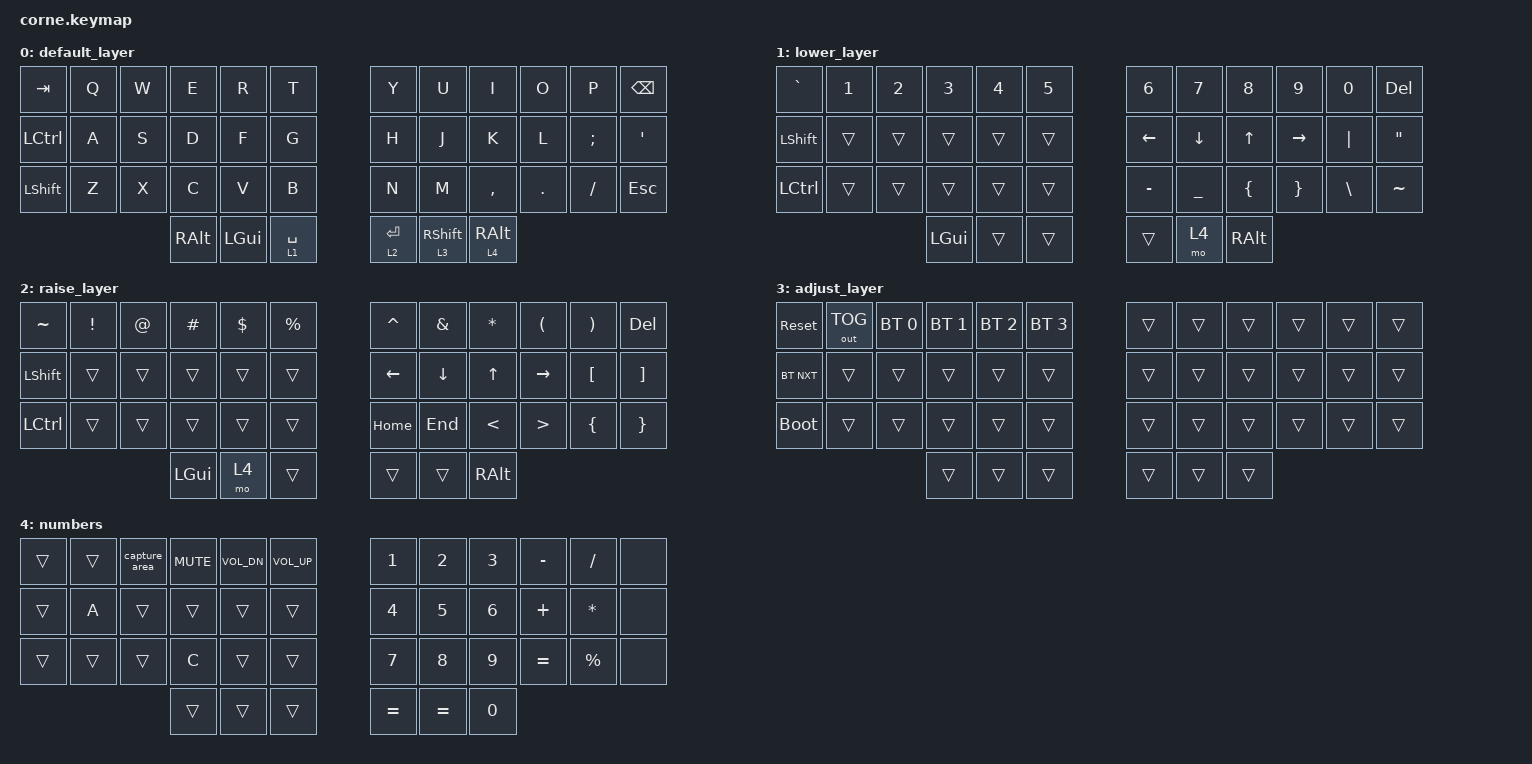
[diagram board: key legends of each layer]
#include <behaviors.dtsi>
#include <dt-bindings/zmk/bt.h>
#include <dt-bindings/zmk/keys.h>
#include <dt-bindings/zmk/outputs.h>

#define DEFAULT 0
#define LOWER   1
#define RAISE   2
#define ADJUST  3
#define FRENCH  4

/ {
    combos {
        compatible = "zmk,combos";

        Numbers {
            bindings = <&tog 4>;
            key-positions = <38 39>;
        };

        One {
            bindings = <&tog 1>;
            key-positions = <36 37>;
        };

        Two {
            bindings = <&tog 2>;
            key-positions = <41 40>;
        };

        reset_layer {
            bindings = <&to 0>;
            key-positions = <39 35>;
        };
    };

    keymap {
        compatible = "zmk,keymap";

        default_layer {
            bindings = <
&kp TAB         &kp Q  &kp W  &kp E     &kp R     &kp T          &kp Y        &kp U              &kp I            &kp O    &kp P     &kp BSPC
&kp LCTRL       &kp A  &kp S  &kp D     &kp F     &kp G          &kp H        &kp J              &kp K            &kp L    &kp SEMI  &kp SQT
&kp LEFT_SHIFT  &kp Z  &kp X  &kp C     &kp V     &kp B          &kp N        &kp M              &kp COMMA        &kp DOT  &kp FSLH  &kp ESC
                              &kp RALT  &kp LGUI  &lt 1 SPACE    &lt 2 ENTER  &lt 3 RIGHT_SHIFT  &lt 4 RIGHT_ALT
            >;
        };

        lower_layer {
            bindings = <
&kp GRAVE  &kp N1  &kp N2  &kp N3    &kp N4  &kp N5    &kp N6     &kp N7          &kp N8    &kp N9     &kp N0         &kp DEL
&kp LSHFT  &trans  &trans  &trans    &trans  &trans    &kp LEFT   &kp DOWN        &kp UP    &kp RIGHT  &kp PIPE       &kp DQT
&kp LCTRL  &trans  &trans  &trans    &trans  &trans    &kp MINUS  &kp UNDERSCORE  &kp LBRC  &kp RBRC   &kp BACKSLASH  &kp TILDE
                           &kp LGUI  &trans  &trans    &trans     &mo 4           &kp RALT
            >;
        };

        raise_layer {
            bindings = <
&kp TILDE  &kp EXCL  &kp AT  &kp HASH  &kp DLLR  &kp PRCNT    &kp CARET  &kp AMPS  &kp STAR  &kp LPAR   &kp RPAR        &kp DEL
&kp LSHFT  &trans    &trans  &trans    &trans    &trans       &kp LEFT   &kp DOWN  &kp UP    &kp RIGHT  &kp LBKT        &kp RBKT
&kp LCTRL  &trans    &trans  &trans    &trans    &trans       &kp HOME   &kp END   &kp LT    &kp GT     &kp LEFT_BRACE  &kp RIGHT_BRACE
                             &kp LGUI  &mo 4     &trans       &trans     &trans    &kp RALT
            >;
        };

        adjust_layer {
            bindings = <
&sys_reset   &out OUT_TOG  &bt BT_SEL 0  &bt BT_SEL 1  &bt BT_SEL 2  &bt BT_SEL 3    &trans  &trans  &trans  &trans  &trans  &trans
&bt BT_NXT   &trans        &trans        &trans        &trans        &trans          &trans  &trans  &trans  &trans  &trans  &trans
&bootloader  &trans        &trans        &trans        &trans        &trans          &trans  &trans  &trans  &trans  &trans  &trans
                                         &trans        &trans        &trans          &trans  &trans  &trans
            >;
        };

        numbers {
            bindings = <
&trans  &trans  &capture_area  &kp K_MUTE  &kp C_VOL_DN  &kp C_VOLUME_UP    &kp NUMBER_1  &kp NUMBER_2  &kp NUMBER_3  &kp MINUS  &kp SLASH     &none
&trans  &kp A   &trans         &trans      &trans        &trans             &kp NUMBER_4  &kp N5        &kp NUMBER_6  &kp PLUS   &kp ASTERISK  &none
&trans  &trans  &trans         &kp C       &trans        &trans             &kp N7        &kp NUMBER_8  &kp NUMBER_9  &kp EQUAL  &kp PERCENT   &none
                               &trans      &trans        &trans             &kp EQUAL     &kp EQUAL     &kp NUMBER_0
            >;
        };
    };

    macros {
        acute: acute {
            label = "ZM_acute";
            compatible = "zmk,behavior-macro";
            #binding-cells = <0>;
            bindings = <&macro_tap>, <&kp RA(E)>;
        };

        grave: grave {
            label = "ZM_grave";
            compatible = "zmk,behavior-macro";
            #binding-cells = <0>;
            bindings = <&macro_tap>, <&kp RA(GRAVE)>;
        };

        circumflex: circumflex {
            label = "ZM_circumflex";
            compatible = "zmk,behavior-macro";
            #binding-cells = <0>;
            bindings = <&macro_tap>, <&kp RA(I)>;
        };

        trema: trema {
            label = "ZM_trema";
            compatible = "zmk,behavior-macro";
            #binding-cells = <0>;
            bindings = <&macro_tap>, <&kp RA(U)>;
        };

        cedilla: cedilla {
            label = "ZM_cedilla";
            compatible = "zmk,behavior-macro";
            #binding-cells = <0>;
            bindings = <&macro_tap>, <&kp RA(C)>;
        };

        capture_area: capture_area {
            compatible = "zmk,behavior-macro";
            #binding-cells = <0>;
            bindings = <&kp LG(LS(NUMBER_4))>;
            label = "CAPTURE_AREA";
        };
    };

    conditional_layers {
        compatible = "zmk,conditional-layers";

        tri_layer {
            if-layers = <1 2>;
            then-layer = <3>;
        };
    };
};
